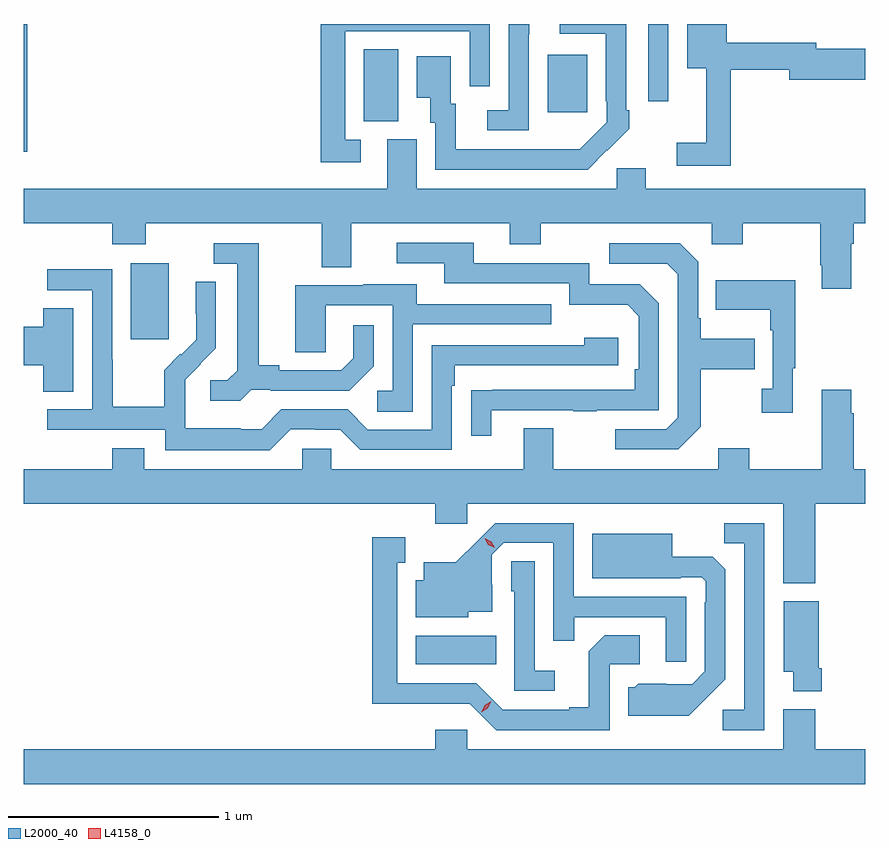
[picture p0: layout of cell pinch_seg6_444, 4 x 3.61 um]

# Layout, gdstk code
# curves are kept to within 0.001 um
import gdstk
lib = gdstk.Library(unit=1e-6, precision=1e-09)
def R(c, l, rs):  # rectangles x0, y0, x1, y1
    for r in rs: c.add(gdstk.rectangle(r[:2], r[2:], *l))
def P(c, l, *ps):  # polygons
    for p in ps: c.add(gdstk.Polygon(p, *l))
L2000_40 = (2000, 40)
L4158_0 = (4158, 0)

pinch_seg6_444 = lib.new_cell('pinch_seg6_444')
R(pinch_seg6_444, L2000_40, [(720.122,926.594,720.506,926.728), (718.769,928.137,718.948,928.498), (718.259,929.028,718.277,929.636), (719.876,929.173,720.04,929.516), (720.749,929.217,720.937,929.491), (721.227,929.268,721.323,929.636)])
P(pinch_seg6_444, L2000_40, [(721.031,929.035),(721.032,929.034),(721.137,929.139),(721.137,929.227),(721.122,929.227),(721.122,929.636),(720.807,929.636),(720.807,929.589),(721.026,929.589),(721.026,929.269),(721.029,929.269),(721.029,929.169),(720.901,929.041),(720.313,929.04),(720.313,929.256),(720.289,929.256),(720.289,929.482),(720.128,929.482),(720.128,929.285),(720.191,929.285),(720.191,929.166),(720.216,929.166),(720.216,928.944),(720.94,928.944)],
  [(719.86,929.085),(719.787,929.085),(719.787,929.601),(720.378,929.601),(720.378,929.34),(720.474,929.34),(720.474,929.594),(720.473,929.594),(720.473,929.636),(719.671,929.636),(719.671,928.98),(719.86,928.98)],
  [(721.619,929.419),(721.898,929.419),(721.898,929.372),(722.259,929.372),(722.259,929.519),(722.026,929.519),(722.026,929.548),(721.6,929.548),(721.6,929.636),(721.412,929.636),(721.412,929.426),(721.502,929.426),(721.502,929.071),(721.362,929.071),(721.362,928.962),(721.619,928.962)],
  [(720.66,929.587),(720.661,929.587),(720.661,929.636),(720.564,929.636),(720.564,929.226),(720.462,929.226),(720.462,929.13),(720.66,929.13)],
  [(718.259,928.688),(718.679,928.688),(718.679,928.589),(718.839,928.589),(718.839,928.688),(719.675,928.688),(719.675,928.48),(719.815,928.48),(719.815,928.688),(720.569,928.688),(720.569,928.589),(720.717,928.589),(720.717,928.688),(721.53,928.688),(721.53,928.589),(721.677,928.589),(721.677,928.688),(722.044,928.688),(722.044,928.489),(722.051,928.489),(722.051,928.377),(722.191,928.377),(722.191,928.592),(722.204,928.592),(722.204,928.688),(722.259,928.688),(722.259,928.852),(721.216,928.852),(721.216,928.95),(721.077,928.95),(721.077,928.852),(720.127,928.852),(720.127,929.088),(719.987,929.088),(719.987,928.852),(718.259,928.852)],
  [(720.481,927.801),(720.871,927.801),(720.871,927.796),(720.983,927.796),(720.983,927.801),(721.278,927.801),(721.278,928.308),(721.188,928.398),(720.948,928.398),(720.948,928.5),(720.397,928.5),(720.397,928.596),(720.033,928.596),(720.033,928.5),(720.257,928.5),(720.257,928.404),(720.852,928.404),(720.852,928.301),(721.129,928.301),(721.182,928.248),(721.182,927.994),(721.162,927.994),(721.162,927.897),(720.385,927.896),(720.385,927.678),(720.481,927.678)],
  [(721.477,927.721),(721.477,927.994),(721.733,927.994),(721.733,928.141),(721.477,928.141),(721.477,928.237),(721.464,928.237),(721.464,928.506),(721.377,928.593),(721.041,928.593),(721.041,928.497),(721.317,928.497),(721.368,928.446),(721.368,927.765),(721.314,927.711),(721.071,927.711),(721.071,927.615),(721.371,927.615)],
  [(719.34,927.897),(719.434,927.897),(719.434,927.894),(719.806,927.894),(719.922,928.01),(719.922,928.204),(719.825,928.204),(719.825,928.047),(719.768,927.99),(719.473,927.99),(719.473,928.013),(719.377,928.013),(719.377,928.593),(719.163,928.593),(719.163,928.497),(719.273,928.497),(719.273,927.989),(719.226,927.942),(719.145,927.942),(719.145,927.845),(719.288,927.845)],
  [(719.529,927.711),(719.645,927.711),(719.645,927.708),(719.763,927.708),(719.859,927.612),(720.294,927.612),(720.294,927.917),(720.307,927.917),(720.307,928.014),(721.084,928.014),(721.084,928.144),(720.923,928.144),(720.923,928.11),(720.198,928.11),(720.198,927.708),(719.895,927.708),(719.799,927.804),(719.484,927.804),(719.391,927.711),(719.291,927.711),(719.291,927.715),(719.028,927.715),(719.028,927.849),(719.026,927.849),(719.026,927.946),(719.172,928.094),(719.172,928.412),(719.076,928.412),(719.076,928.258),(719.078,928.258),(719.078,928.136),(719.007,928.065),(719.004,928.068),(718.927,927.991),(718.927,927.817),(718.683,927.817),(718.683,928.04),(718.68,928.04),(718.68,928.47),(718.371,928.47),(718.371,928.371),(718.584,928.371),(718.584,927.804),(718.371,927.804),(718.371,927.708),(718.932,927.708),(718.932,927.611),(719.429,927.611)],
  [(721.915,928.001),(721.927,928.001),(721.927,928.417),(721.549,928.417),(721.549,928.277),(721.806,928.277),(721.806,928.181),(721.818,928.181),(721.818,927.902),(721.767,927.902),(721.767,927.789),(721.915,927.789)],
  [(720.108,928.209),(720.767,928.209),(720.767,928.305),(720.127,928.305),(720.127,928.399),(719.873,928.399),(719.873,928.395),(719.549,928.395),(719.549,928.075),(719.694,928.075),(719.694,928.299),(720.012,928.299),(720.012,927.894),(719.94,927.894),(719.94,927.793),(720.108,927.793)],
  [(718.495,928.286),(718.352,928.286),(718.352,928.196),(718.259,928.196),(718.259,928.013),(718.352,928.013),(718.352,927.889),(718.495,927.889)],
  [(722.021,927.356),(722.259,927.356),(722.259,927.52),(722.204,927.52),(722.204,927.785),(722.191,927.785),(722.191,927.898),(722.051,927.898),(722.051,927.52),(721.707,927.52),(721.707,927.619),(721.559,927.619),(721.559,927.52),(720.775,927.52),(720.775,927.715),(720.635,927.715),(720.635,927.52),(719.721,927.52),(719.721,927.618),(719.583,927.618),(719.583,927.52),(718.831,927.52),(718.831,927.619),(718.679,927.619),(718.679,927.52),(718.259,927.52),(718.259,927.356),(720.215,927.356),(720.215,927.261),(720.366,927.261),(720.366,927.356),(721.868,927.356),(721.868,926.978),(722.021,926.978)],
  [(721.407,926.913),(720.873,926.913),(720.873,927.264),(720.5,927.264),(720.313,927.079),(720.161,927.079),(720.161,926.992),(720.122,926.992),(720.122,926.816),(720.372,926.816),(720.372,926.843),(720.487,926.843),(720.487,926.972),(720.483,926.972),(720.483,927.114),(720.54,927.171),(720.777,927.171),(720.777,926.704),(720.875,926.704),(720.875,926.817),(721.311,926.817),(721.311,926.604),(721.407,926.604)],
  [(721.779,927.264),(721.588,927.264),(721.588,927.169),(721.683,927.169),(721.683,926.376),(721.581,926.376),(721.581,926.28),(721.779,926.28)],
  [(721.501,926.429),(721.593,926.522),(721.593,927.044),(721.534,927.103),(721.342,927.103),(721.342,927.214),(720.962,927.214),(720.962,927.002),(721.382,927.002),(721.382,927.006),(721.482,927.006),(721.5,926.988),(721.5,926.888),(721.497,926.888),(721.497,926.559),(721.437,926.499),(721.18,926.5),(721.164,926.484),(721.133,926.484),(721.133,926.348),(721.421,926.348)],
  [(721.044,926.592),(721.186,926.592),(721.186,926.732),(721.021,926.732),(720.945,926.656),(720.945,926.389),(720.851,926.389),(720.851,926.376),(720.537,926.376),(720.411,926.502),(720.034,926.502),(720.034,927.075),(720.073,927.075),(720.073,927.196),(719.916,927.196),(719.916,926.405),(720.378,926.406),(720.504,926.28),(721.044,926.28)],
  [(720.784,926.563),(720.687,926.563),(720.687,927.083),(720.576,927.083),(720.576,926.94),(720.591,926.94),(720.591,926.466),(720.784,926.466)],
  [(722.051,926.575),(722.038,926.575),(722.038,926.893),(721.871,926.893),(721.871,926.558),(721.916,926.558),(721.916,926.465),(722.051,926.465)],
  [(722.259,926.188),(722.021,926.188),(722.021,926.38),(721.868,926.38),(721.868,926.188),(720.366,926.188),(720.366,926.281),(720.215,926.281),(720.215,926.188),(718.259,926.188),(718.259,926.024),(722.259,926.024)])
P(pinch_seg6_444, L4158_0, [(720.499,927.146),(720.468,927.162),(720.451,927.192),(720.451,927.192),(720.451,927.192),(720.482,927.176),(720.499,927.146),(720.499,927.146)],
  [(720.434,926.365),(720.434,926.365),(720.45,926.398),(720.482,926.418),(720.482,926.418),(720.482,926.417),(720.465,926.384),(720.434,926.365)])

lib.write_gds('pinch_seg6_444.gds')
